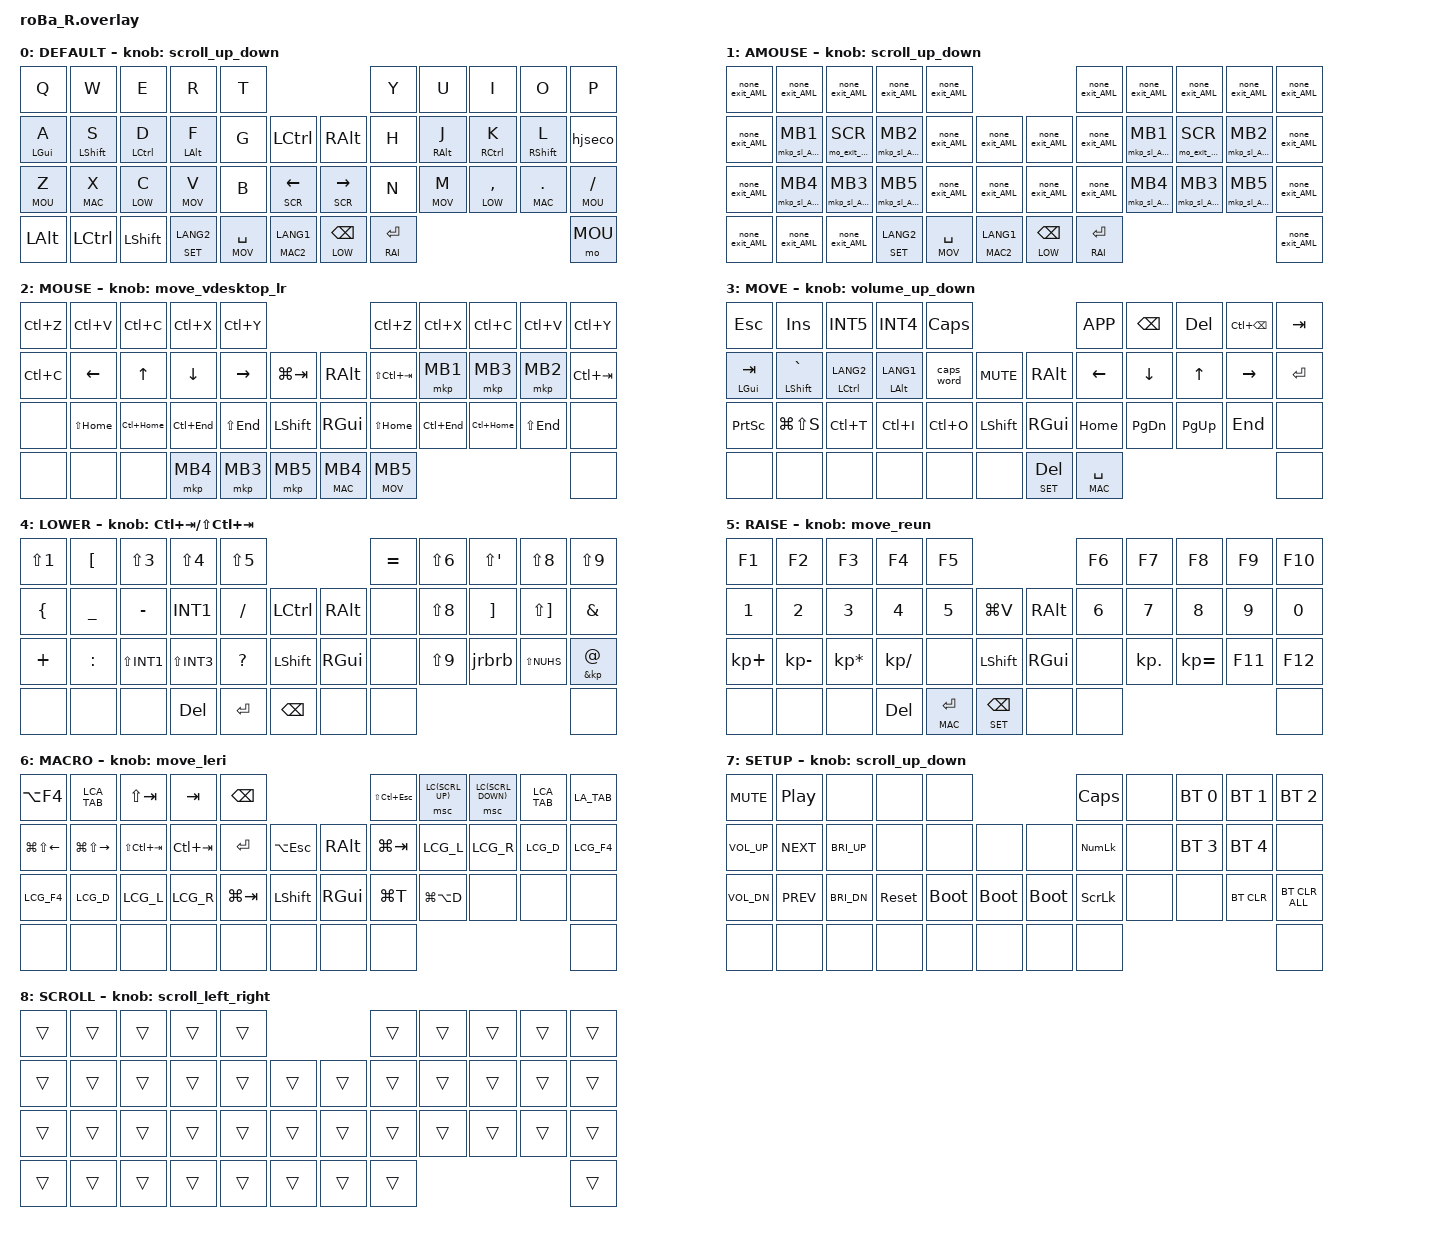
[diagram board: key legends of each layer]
#define ZMK_POINTING_DEFAULT_SCRL_VAL 100

#include <behaviors.dtsi>
#include <dt-bindings/zmk/bt.h>
#include <dt-bindings/zmk/keys.h>
#include <dt-bindings/zmk/pointing.h>


// レイヤー定義
#define QWE 0
#define AMO 1
#define MOU 2
#define MOV 3
#define LOW 4
#define RAI 5
#define MAC 6
#define SET 7
#define SCR 8

// layerの設定
&lt {
    flavor = "tap-preferred";
    tapping-term-ms = <150>;
    quick-tap-ms = <150>;
};
&sl { release-after-ms = <120>; }; // タイムアウトを指定
/ {

    combos {
        compatible = "zmk,combos";

        // ショートカット
        combo_SET {
            timeout-ms = <40>;
            key-positions = <31 32>;
            bindings = <&mo SET>;
            layers = <QWE>;
        };
        combo_SET2 {
            timeout-ms = <40>;
            key-positions = <23 24>;
            bindings = <&mo SET>;
            layers = <QWE>;
        };

    };

    macros {

        // アクティブアプリ(切り替え)
        LA_TAB: alt_tab {
            compatible = "zmk,behavior-macro";
            #binding-cells = <0>;
            bindings = <&macro_press &kp LALT>,
                       <&macro_tap &kp TAB>,
                       <&macro_release &kp LALT>;
        };

        // アクティブアプリ(一覧)
        LCA_TAB: alt_ctrl_tab {
            compatible = "zmk,behavior-macro";
            #binding-cells = <0>;
            bindings = <&macro_press &kp LALT>,
                       <&macro_press &kp LCTRL>,
                       <&macro_wait_time 100>,
                       <&macro_tap &kp TAB>,
                       <&macro_release &kp LCTRL>,
                       <&macro_release &kp LALT>;
        };

        // 仮想デスクトップ 新規
        LCG_D: gui_ctrl_d {
            compatible = "zmk,behavior-macro";
            #binding-cells = <0>;
            bindings = <&macro_press &kp LGUI>,
                       <&macro_press &kp LCTRL>,
                       <&macro_tap &kp D>,
                       <&macro_release &kp LCTRL>,
                       <&macro_release &kp LGUI>;
        };

        // 仮想デスクトップ 削除
        LCG_F4: gui_ctrl_F4 {
            compatible = "zmk,behavior-macro";
            #binding-cells = <0>;
            bindings = <&macro_press &kp LGUI>,
                       <&macro_press &kp LCTRL>,
                       <&macro_tap &kp F4>,
                       <&macro_release &kp LCTRL>,
                       <&macro_release &kp LGUI>;
        };

        // 仮想デスクトップ 右移動
        LCG_R: gui_ctrl_right {
            compatible = "zmk,behavior-macro";
            #binding-cells = <0>;
            bindings = <&macro_press &kp LGUI>,
                       <&macro_press &kp LCTRL>,
                       <&macro_tap &kp RIGHT>,
                       <&macro_release &kp LCTRL>,
                       <&macro_release &kp LGUI>;
        };

        // 仮想デスクトップ 左移動
        LCG_L: gui_ctrl_left {
            compatible = "zmk,behavior-macro";
            #binding-cells = <0>;
            bindings = <&macro_press &kp LGUI>,
                       <&macro_press &kp LCTRL>,
                       <&macro_tap &kp LEFT>,
                       <&macro_release &kp LCTRL>,
                       <&macro_release &kp LGUI>;
        };

        // マウスレイヤーでキーを押した後に抜ける
        exit_AML: exit_AML {
            compatible = "zmk,behavior-macro";
            wait-ms = <0>;
            tap-ms = <0>;
            #binding-cells = <0>;
            bindings = <&tog_off AMO>;
            label = "exit_AML";
        };
        none_exit_AML: none_exit_AML {
            compatible = "zmk,behavior-macro";
            wait-ms = <0>;
            tap-ms = <0>;
            #binding-cells = <0>;
            bindings = <&none &exit_AML>;
            label = "None_exit_AML";
        };
        kp_exit_AML: kp_exit_AML {
            compatible = "zmk,behavior-macro-one-param";
            wait-ms = <0>;
            tap-ms = <0>;
            #binding-cells = <1>;
            bindings = <&macro_param_1to1 &kp MACRO_PLACEHOLDER &exit_AML>;
        };
        mkp_sl_AML: mkp_sl_AML {
            compatible = "zmk,behavior-macro-one-param";
            #binding-cells = <1>;
            bindings =
                <&macro_press>,
                <&macro_param_1to1 &mkp MACRO_PLACEHOLDER>,
                <&macro_pause_for_release>,
                <&macro_release>,
                <&macro_param_1to1 &mkp MACRO_PLACEHOLDER>,
                <&macro_tap>,
                <&sl AMO>;
            label = "MKP_SL_AML";
        };
        mo_exit_AML: mo_exit_AML {
            compatible = "zmk,behavior-macro-one-param";
            wait-ms = <0>;
            tap-ms = <0>;
            #binding-cells = <1>;
            bindings =
                <&macro_press>,
                <&macro_param_1to1 &mo MACRO_PLACEHOLDER>,
                <&macro_tap>,
                <&exit_AML>,
                <&macro_pause_for_release>,
                <&macro_release>,
                <&macro_param_1to1 &mo MACRO_PLACEHOLDER>,
                <&macro_tap>;
            label = "MO_exit_AML";
        };
    };

    behaviors {
        tog_on: toggle_layer_on {
            compatible = "zmk,behavior-toggle-layer";
            #binding-cells = <1>;
            display-name = "Toggle Layer On";
            toggle-mode = "on";
        };
        tog_off: toggle_layer_off {
            compatible = "zmk,behavior-toggle-layer";
            #binding-cells = <1>;
            display-name = "Toggle Layer Off";
            toggle-mode = "off";
        };

        // HRMの設定
        hrm: homerow_mods {
            compatible = "zmk,behavior-hold-tap";
            #binding-cells = <2>;
            tapping-term-ms = <230>;
            quick-tap-ms = <150>;
            flavor = "tap-preferred";
            bindings = <&kp>, <&kp>;
        };
        qhrm: qickly_homerow_mods {
            compatible = "zmk,behavior-hold-tap";
            #binding-cells = <2>;
            tapping-term-ms = <150>;
            quick-tap-ms = <150>;
            flavor = "tap-preferred";
            bindings = <&kp>, <&kp>;
        };
        mltkp: auto_mouse_lt_kp {
            compatible = "zmk,behavior-hold-tap";
            #binding-cells = <2>;
            tapping-term-ms = <230>;
            quick-tap-ms = <150>;
            flavor = "tap-preferred";
            bindings = <&mo_exit_AML>, <&kp_exit_AML>;
        };
        // mod-tap(mouse)の設定
        mlt: mouse_layer_tap {
            compatible = "zmk,behavior-hold-tap";
            #binding-cells = <2>;
            tapping-term-ms = <150>;
            quick-tap-ms = <150>;
            flavor = "tap-preferred";
            bindings = <&mo>, <&mkp>;
        };
        // layerの設定(文字を入力する場合)
        klt: key_layer_tap {
            compatible = "zmk,behavior-hold-tap";
            #binding-cells = <2>;
            tapping-term-ms = <230>;
            quick-tap-ms = <150>;
            flavor = "tap-preferred";
            bindings = <&mo>, <&kp>;
        };

        // ロータリーエンコーダの設定
        // スクロール動作の追加
        scroll_up_down: sensor_rotate_mouse_wheel_up_down {
            compatible = "zmk,behavior-sensor-rotate";
            #sensor-binding-cells = <0>;
            bindings = <&msc SCRL_UP>, <&msc SCRL_DOWN>;
            // 追加: スクロールのタップ時間を設定 (20ms)
            tap-ms = <20>;
        };
        scroll_left_right: sensor_rotate_mouse_wheel_left_rightxo {
            compatible = "zmk,behavior-sensor-rotate";
            #sensor-binding-cells = <0>;
            bindings = <&msc SCRL_LEFT>, <&msc SCRL_RIGHT>;
            // 追加: スクロールのタップ時間を設定 (20ms)
            tap-ms = <20>;
        };
        // 仮想デスクトップ移動
        move_vdesktop_lr: sensor_rotate_move_vdesktop_left_right  {
            compatible = "zmk,behavior-sensor-rotate";
            #sensor-binding-cells = <0>;
            bindings = <&LCG_R>, <&LCG_L>;
            // 追加: スクロールのタップ時間を設定 (20ms)
            tap-ms = <1>;
        };
        // 音量増減
        volume_up_down: sensor_rotate_volume_up_down  {
            compatible = "zmk,behavior-sensor-rotate";
            #sensor-binding-cells = <0>;
            bindings = <&kp C_VOL_UP>, <&kp C_VOL_DN>;
            // 追加: スクロールのタップ時間を設定 (20ms)
            tap-ms = <1>;
        };
        // タブ移動
        move_tab_lr: sensor_rotate_move_tab_left_right  {
            compatible = "zmk,behavior-sensor-rotate";
            #sensor-binding-cells = <0>;
            bindings = <&kp LC(TAB)>, <&kp LS(LC(TAB))>;
            // 追加: スクロールのタップ時間を設定 (20ms)
            tap-ms = <1>;
        };
        // 進む/戻る
        move_reun: sensor_rotate_move_redo_undo  {
            compatible = "zmk,behavior-sensor-rotate";
            #sensor-binding-cells = <0>;
            bindings = <&kp LC(Y)>, <&kp LC(Z)>;
            // 追加: スクロールのタップ時間を設定 (20ms)
            tap-ms = <1>;
        };
        // 右/左
        move_leri: sensor_rotate_move_left_right  {
            compatible = "zmk,behavior-sensor-rotate";
            #sensor-binding-cells = <0>;
            bindings = <&kp RIGHT>, <&kp LEFT>;
            // 追加: スクロールのタップ時間を設定 (20ms)
            tap-ms = <1>;
        };
         rot_kp: sensor_rotate_kp {
            compatible = "zmk,behavior-sensor-rotate-var";
            #sensor-binding-cells = <2>;
            bindings = <&kp>, <&kp>;
            tap-ms = <1>;
        };
    };

    keymap {
        compatible = "zmk,keymap";

        /*
        map = <
            RC(0,0) RC(0,1) RC(0,2) RC(0,3) RC(0,4)                     RC(0,6) RC(0,7) RC(0,8) RC(0,9) RC(0,10)
            RC(1,0) RC(1,1) RC(1,2) RC(1,3) RC(1,4) RC(1,5)     RC(3,6) RC(1,6) RC(1,7) RC(1,8) RC(1,9) RC(1,10)
            RC(2,0) RC(2,1) RC(2,2) RC(2,3) RC(2,4) RC(2,5)     RC(3,7) RC(2,6) RC(2,7) RC(2,8) RC(2,9) RC(2,10)
            RC(3,0) RC(3,1) RC(3,2) RC(3,3) RC(3,4) RC(3,5)     RC(3,8) RC(3,9)                         RC(3,10)
        >;

        number
            00  01  02  03  04                  05  06  07  08  09
            10  11  12  13  14  15          16  17  18  19  20  21
            22  23  24  25  26  27          28  29  30  31  32  33
            34  35  36  37  38  39          40  41              42
        */

        DEFAULT {
            bindings = <
&kp Q        &kp W        &kp E         &kp R         &kp T                                                  &kp Y        &kp U         &kp I          &kp O         &kp P
&hrm LGUI A  &hrm LSHFT S &hrm LCTRL D  &hrm LALT F   &kp G             &kp LCTRL             &kp RALT       &kp H        &hrm RALT J   &hrm RCTRL K   &hrm RSHFT L  &hjseco
&klt MOU Z   &klt MAC X   &klt LOW C    &klt MOV V    &kp B             &lt SCR LEFT          &lt SCR RIGHT  &kp N        &klt MOV M    &klt LOW COMMA &klt MAC DOT  &klt MOU FSLH
&kp LALT     &kp LCTRL    &kp LSHFT     &lt SET LANG2 &lt MOV SPACE     &lt MAC2 LANG1        &lt LOW BSPC   &lt RAI RET                                             &mo MOU
            >;
            sensor-bindings = <&scroll_up_down>;
        };

        AMOUSE {
            bindings = <
&none_exit_AML &none_exit_AML  &none_exit_AML    &none_exit_AML   &none_exit_AML                                       &none_exit_AML &none_exit_AML  &none_exit_AML   &none_exit_AML  &none_exit_AML
&none_exit_AML &mkp_sl_AML MB1 &mo_exit_AML SCR  &mkp_sl_AML MB2  &none_exit_AML   &none_exit_AML      &none_exit_AML  &none_exit_AML &mkp_sl_AML MB1 &mo_exit_AML SCR &mkp_sl_AML MB2 &none_exit_AML
&none_exit_AML &mkp_sl_AML MB4 &mkp_sl_AML MB3   &mkp_sl_AML MB5  &none_exit_AML   &none_exit_AML      &none_exit_AML  &none_exit_AML &mkp_sl_AML MB4 &mkp_sl_AML MB3  &mkp_sl_AML MB5 &none_exit_AML
&none_exit_AML &none_exit_AML  &none_exit_AML    &mltkp SET LANG2 &mltkp MOV SPACE &mltkp MAC2 LANG1   &mltkp LOW BSPC &mltkp RAI RET                                                  &none_exit_AML
            >;
            sensor-bindings = <&scroll_up_down>;
        };

        MOUSE {
            bindings = <
&kp LC(Z)      &kp LC(V)     &kp LC(C)    &kp LC(X)    &kp LC(Y)                                          &kp LC(Z)       &kp LC(X)      &kp LC(C)      &kp LC(V)      &kp LC(Y)
&kp LC(C)      &kp LEFT      &kp UP       &kp DOWN     &kp RIGHT         &kp LG(TAB)       &kp RALT       &kp LS(LC(TAB)) &mkp MB1       &mkp MB3       &mkp MB2       &kp LC(TAB)
&none          &kp LS(HOME)  &kp LC(HOME) &kp LC(END)  &kp LS(END)       &kp LSHFT         &kp RGUI       &kp LS(HOME)    &kp LC(END)    &kp LC(HOME)   &kp LS(END)    &none
&none          &none         &none        &mkp MB4     &mkp MB3          &mkp MB5          &mlt MAC MB4   &mlt MOV MB5                                                 &none
            >;
            sensor-bindings = <&move_vdesktop_lr>;
        };

        MOVE {
            bindings = <
&kp ESC        &kp INS           &kp INT5          &kp INT4         &kp CAPS                              &kp K_APP     &kp BSPC  &kp DEL   &kp LC(BSPC) &kp TAB
&qhrm LGUI TAB &qhrm LSHFT GRAVE &qhrm LCTRL LANG2 &qhrm LALT LANG1 &caps_word &kp C_MUTE     &kp RALT    &kp LEFT      &kp DOWN  &kp UP    &kp RIGHT    &kp RET
&kp PSCRN      &kp LG(LS(S))     &kp LC(T)         &kp LC(I)        &kp LC(O)  &kp LSHFT      &kp RGUI    &kp HOME      &kp PG_DN &kp PG_UP &kp END      &none
&none          &none             &none             &none            &none      &none          &lt SET DEL &lt MAC SPACE                                  &none
            >;
            sensor-bindings = <&volume_up_down>;
        };

        LOWER {
            bindings = <
&kp LS(N1) &kp LBKT  &kp LS(N3)   &kp LS(N4)   &kp LS(N5)                             &kp EQUAL   &kp LS(N6) &kp LS(SQT) &kp LS(N8)   &kp LS(N9)
&kp LBRC   &kp UNDER &kp MINUS    &kp INT1     &kp FSLH   &kp LCTRL         &kp RALT  &none       &kp LS(N8) &kp RBKT    &kp LS(RBKT) &kp AMPS
&kp PLUS   &kp COLON &kp LS(INT1) &kp LS(INT3) &kp QMARK  &kp LSHFT         &kp RGUI  &none       &kp LS(N9) &jrbrb      &kp LS(NUHS) &&kp AT
&none      &none     &none        &kp DEL      &kp RET    &kp BSPC          &none     &none                                           &none
            >;
            sensor-bindings = <&rot_kp  LC(TAB) LS(LC(TAB))>;
        };

        RAISE {
            bindings = <
&kp F1      &kp F2       &kp F3          &kp F4        &kp F5                                     &kp F6 &kp F7     &kp F8       &kp F9  &kp F10
&kp N1      &kp N2       &kp N3          &kp N4        &kp N5      &kp LG(V)             &kp RALT &kp N6 &kp N7     &kp N8       &kp N9  &kp N0
&kp KP_PLUS &kp KP_MINUS &kp KP_MULTIPLY &kp KP_DIVIDE &none       &kp LSHFT             &kp RGUI &none  &kp KP_DOT &kp KP_EQUAL &kp F11 &kp F12
&none       &none        &none           &kp DEL       &lt MAC RET &lt SET BSPC          &none    &none                                  &none
            >;
            sensor-bindings = <&move_reun>;
        };

        MACRO {
            bindings = <
&kp LA(F4)        &LCA_TAB           &kp LS(TAB)      &kp TAB        &kp BSPC                           &kp LS(LC(ESC))  &msc LC(SCRL_UP)  &msc LC(SCRL_DOWN)  &LCA_TAB    &LA_TAB
&kp LG(LS(LEFT))  &kp LG(LS(RIGHT))  &kp LS(LC(TAB))  &kp LC(TAB)    &kp RET     &kp LA(ESC)  &kp RALT  &kp LG(TAB)      &LCG_L            &LCG_R              &LCG_D      &LCG_F4
&LCG_F4           &LCG_D             &LCG_L           &LCG_R         &kp LG(TAB) &kp LSHFT    &kp RGUI  &kp LG(T)        &kp LG(LA(D))     &none               &none       &none
&none             &none              &none            &none          &none       &none        &none     &none                                                              &none
            >;
            sensor-bindings = <&move_leri>;
        };

        SETUP {
            bindings = <
&kp C_MUTE    &kp C_PP    &none         &none       &none                                        &kp CAPS    &none       &bt BT_SEL 0  &bt BT_SEL 1  &bt BT_SEL 2
&kp C_VOL_UP  &kp C_NEXT  &kp C_BRI_UP  &none       &none          &none            &none        &kp KP_NUM  &none       &bt BT_SEL 3  &bt BT_SEL 4  &none
&kp C_VOL_DN  &kp C_PREV  &kp C_BRI_DN  &sys_reset  &bootloader    &bootloader      &bootloader  &kp SLCK    &none       &none         &bt BT_CLR    &bt BT_CLR_ALL
&none         &none       &none         &none       &none          &none            &none        &none                                               &none
            >;
            sensor-bindings = <&scroll_up_down>;
        };

        SCROLL {
            bindings = <
&trans  &trans  &trans  &trans  &trans                      &trans  &trans  &trans  &trans  &trans
&trans  &trans  &trans  &trans  &trans  &trans      &trans  &trans  &trans  &trans  &trans  &trans
&trans  &trans  &trans  &trans  &trans  &trans      &trans  &trans  &trans  &trans  &trans  &trans
&trans  &trans  &trans  &trans  &trans  &trans      &trans  &trans                          &trans
            >;
            sensor-bindings = <&scroll_left_right>;
        };

    };
};
